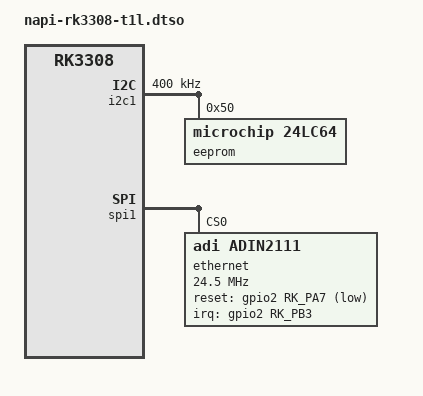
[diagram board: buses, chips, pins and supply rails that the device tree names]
/dts-v1/;
/plugin/;

#include <dt-bindings/gpio/gpio.h>
#include <dt-bindings/interrupt-controller/irq.h>
#include <dt-bindings/pinctrl/rockchip.h>

/ {
	compatible = "rockchip,rk3308";

	fragment@0 {
		target = <&i2c1>;
		__overlay__ {
			status = "okay";
			clock-frequency = <400000>;
			#address-cells = <1>;
			#size-cells = <0>;

			eeprom@50 {
				compatible = "microchip,24lc64", "atmel,24c64";
				reg = <0x50>;
				status = "okay";
			};
		};
	};

	fragment@1 {
		target = <&pinctrl>;
		__overlay__ {
			adin2111 {
				adin_int: adin-int {
					rockchip,pins = <2 RK_PB3 RK_FUNC_GPIO &pcfg_pull_none>;
				};

				adin_rst: adin-rst {
					rockchip,pins = <2 RK_PA7 RK_FUNC_GPIO &pcfg_pull_none>;
				};

				adin_bypass: adin-bypass {
					rockchip,pins = <2 RK_PB1 RK_FUNC_GPIO &pcfg_pull_none>;
				};
			};
		};
	};

	fragment@2 {
		target = <&spi1>;
		__overlay__ {
			status = "okay";
			#address-cells = <1>;
			#size-cells = <0>;

			ethernet@0 {
				compatible = "adi,adin2111";
				reg = <0>;
				spi-max-frequency = <24500000>;
				pinctrl-names = "default";
				pinctrl-0 = <&adin_int &adin_rst &adin_bypass>;
				interrupt-parent = <&gpio2>;
				interrupts = <RK_PB3 IRQ_TYPE_LEVEL_LOW>;
				reset-gpios = <&gpio2 RK_PA7 GPIO_ACTIVE_LOW>;
				adi,spi-crc;
				status = "okay";
			};
		};
	};
};
